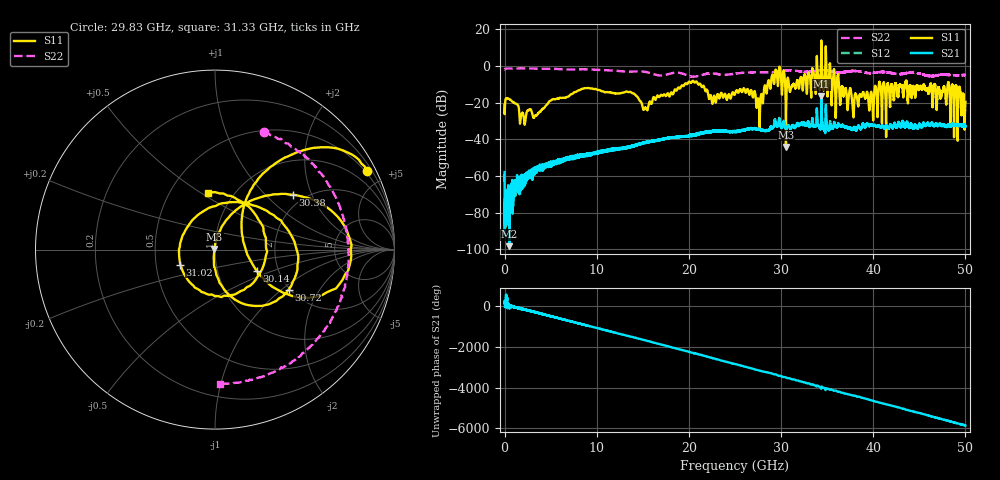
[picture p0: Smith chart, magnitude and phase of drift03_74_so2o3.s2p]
!Created with skrf (http://scikit-rf.org).
# Hz S RI R 50.0
!freq ReS11 ImS11 ReS21 ImS21 ReS12 ImS12 ReS22 ImS22
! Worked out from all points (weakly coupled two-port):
!   10001 points, 300 kHz to 50 GHz, reference 50 ohm
!   highest |S21| = -16.52 dB at 34.37 GHz (marker M1); lowest = -98.4 dB at 520.3 MHz (marker M2)
!   lowest |S11| = -44.2 dB at 30.53 GHz (marker M3), VSWR 1.01, Z = 49.5 + j0.391 ohm
!   |S11| at or under -10 dB: start of sweep to 19.55 GHz; 21.25 GHz to 28.55 GHz (7.298 GHz wide, 29.3 % of centre); 36.28 GHz to 40.61 GHz (4.329 GHz wide, 11.3 % of centre) (the widest 3 of 36)
!   |S22| runs from -5.9 to -1.3 dB; largest |S21 - S12| = 0.027
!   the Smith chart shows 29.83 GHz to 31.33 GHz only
!   S11 on the Smith chart (normalised r, x): 29.83 GHz: 0.44, +4.06; 30.14 GHz: 1.54, -0.39; 30.38 GHz: 1.73, +1.47; 30.72 GHz: 1.96, -1.12; 31.02 GHz: 0.67, -0.12; 31.33 GHz: 0.76, +0.54
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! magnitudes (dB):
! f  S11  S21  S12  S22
! 300 kHz  -21.4  -57.9  -58.9  -2.1
! 520.3 MHz  -18.1  -98.4  -73.2  -1.5
! 3.3 GHz  -27.2  -58.0  -56.7  -1.5
! 8.335 GHz  -12.6  -48.3  -49.1  -1.9
! 15.29 GHz  -22.8  -42.0  -41.7  -3.3
! 16.67 GHz  -16.5  -40.3  -40.6  -5.2
! 20.26 GHz  -9.1  -37.8  -38.0  -5.8
! 22.71 GHz  -16.5  -35.7  -35.7  -4.2
! 25 GHz  -15.2  -36.0  -35.9  -4.3
! 27.53 GHz  -17.8  -34.5  -34.4  -3.5
! 29.83 GHz  -0.4  -29.4  -28.4  -3.0
! 30.14 GHz  -11.7  -33.4  -33.5  -2.7
! 30.38 GHz  -5.5  -32.5  -32.4  -2.6
! 30.53 GHz  -44.2  -34.1  -34.0  -2.5
! 30.72 GHz  -6.6  -33.0  -32.8  -2.5
! 31.02 GHz  -13.5  -34.3  -34.2  -2.4
! 31.33 GHz  -9.9  -32.3  -32.5  -2.5
! 33.34 GHz  -7.3  -31.3  -31.2  -2.9
! 34.37 GHz  13.9  -16.5  -17.8  -2.2
! 37.87 GHz  -28.0  -33.6  -34.0  -2.8
! 41.67 GHz  -11.3  -34.1  -34.2  -3.7
! 50 GHz  -19.6  -33.3  -32.7  -4.9
